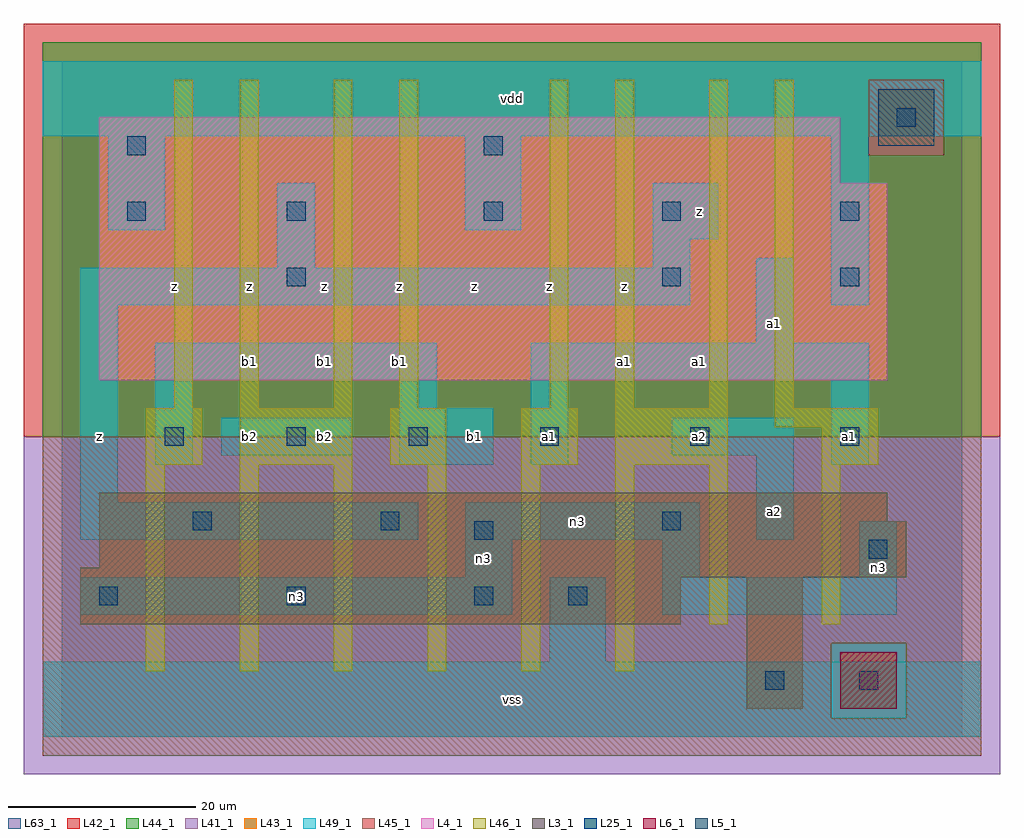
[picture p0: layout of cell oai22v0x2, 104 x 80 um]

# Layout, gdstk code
import gdstk
lib = gdstk.Library(unit=1e-6, precision=1e-09)
def R(c, l, rs):  # rectangles x0, y0, x1, y1
    for r in rs: c.add(gdstk.rectangle(r[:2], r[2:], *l))
def A(c, l, x, y, w, h, nx, ny, dx, dy):  # array of equal rectangles
    R(c, l, [(x+i*dx, y+j*dy, x+i*dx+w, y+j*dy+h) for i in range(nx) for j in range(ny)])
L3_1 = (3, 1)
L4_1 = (4, 1)
L5_1 = (5, 1)
L6_1 = (6, 1)
L25_1 = (25, 1)
L41_1 = (41, 1)
L42_1 = (42, 1)
L43_1 = (43, 1)
L44_1 = (44, 1)
L45_1 = (45, 1)
L46_1 = (46, 1)
L49_1 = (49, 1)
L63_1 = (63, 1)

oai22v0x2 = lib.new_cell('oai22v0x2')
R(oai22v0x2, L3_1, [(73,3,79,17), (2,12,66,17), (2,17,90,18), (4,18,90,23), (4,23,88,26)])
R(oai22v0x2, L4_1, [(4,38,88,59), (4,59,83,66)])
R(oai22v0x2, L5_1, [(87,63,93,69)])
R(oai22v0x2, L6_1, [(83,3,89,9), (83,3,89,9)])
A(oai22v0x2, L25_1, 4, 14, 2, 2, 3, 1, 20, 0)
A(oai22v0x2, L25_1, 11, 31, 2, 2, 3, 1, 13, 0)
A(oai22v0x2, L25_1, 51, 31, 2, 2, 3, 1, 16, 0)
A(oai22v0x2, L25_1, 45, 55, 2, 2, 3, 1, 19, 0)
R(oai22v0x2, L25_1, [(75,5,77,7), (85,5,87,7), (54,14,56,16), (86,19,88,21), (44,21,46,23), (14,22,16,24), (34,22,36,24), (64,22,66,24), (24,48,26,50), (64,48,66,50), (83,48,85,50), (7,55,9,57), (24,55,26,57), (7,62,9,64), (45,62,47,64), (89,65,91,67)])
R(oai22v0x2, L41_1, [(-4,-4,100,32)])
R(oai22v0x2, L42_1, [(-4,32,100,76)])
R(oai22v0x2, L43_1, [(73,3,79,17), (83,3,89,9), (2,12,66,17), (2,17,90,18), (4,18,90,23), (4,23,88,26), (4,38,88,59), (4,59,83,66), (87,63,93,69)])
R(oai22v0x2, L44_1, [(82,2,90,10), (-2,32,98,62), (-2,62,86,70), (94,62,98,70), (-2,70,98,74)])
R(oai22v0x2, L45_1, [(-2,-2,98,2), (-2,2,82,10), (90,2,98,10), (-2,10,98,32), (86,62,94,70)])
A(oai22v0x2, L46_1, 9, 7, 2, 22, 6, 1, 10, 0)
R(oai22v0x2, L46_1, [(69,12,71,29), (81,12,83,29), (9,29,15,35), (19,29,31,35), (35,29,41,35), (49,29,55,35), (59,29,71,35), (81,29,87,33), (76,33,87,35), (12,35,14,70), (19,35,21,70), (29,35,31,70), (36,35,38,70), (52,35,54,70), (59,35,61,70), (69,35,71,70), (76,35,78,70)])
R(oai22v0x2, L49_1, [(-2,0,98,8), (52,8,58,17), (2,13,48,17), (64,13,89,17), (43,17,48,21), (64,17,68,21), (85,17,89,23), (2,21,38,25), (43,21,68,25), (74,21,78,30), (2,25,6,46), (10,29,14,38), (36,29,46,35), (50,29,54,38), (82,29,86,38), (17,30,31,34), (65,30,78,34), (36,35,40,38), (10,38,40,42), (50,38,86,42), (74,42,78,51), (2,46,67,50), (82,46,86,64), (23,50,27,59), (63,50,67,53), (63,53,70,59), (5,54,11,64), (43,54,49,64), (-2,64,98,72)])
R(oai22v0x2, L63_1, [(0,0,96,72)])
oai22v0x2.add(gdstk.Label('z', (4,32), layer=49, texttype=1))
oai22v0x2.add(gdstk.Label('z', (12,48), layer=49, texttype=1))
oai22v0x2.add(gdstk.Label('b2', (28,32), layer=49, texttype=1))
oai22v0x2.add(gdstk.Label('b2', (20,32), layer=49, texttype=1))
oai22v0x2.add(gdstk.Label('b1', (20,40), layer=49, texttype=1))
oai22v0x2.add(gdstk.Label('b1', (28,40), layer=49, texttype=1))
oai22v0x2.add(gdstk.Label('z', (20,48), layer=49, texttype=1))
oai22v0x2.add(gdstk.Label('z', (28,48), layer=49, texttype=1))
oai22v0x2.add(gdstk.Label('vss', (48,4), layer=49, texttype=1))
oai22v0x2.add(gdstk.Label('n3', (45,19), layer=49, texttype=1))
oai22v0x2.add(gdstk.Label('n3', (25,15), layer=49, texttype=1))
oai22v0x2.add(gdstk.Label('b1', (44,32), layer=49, texttype=1))
oai22v0x2.add(gdstk.Label('a1', (52,32), layer=49, texttype=1))
oai22v0x2.add(gdstk.Label('b1', (36,40), layer=49, texttype=1))
oai22v0x2.add(gdstk.Label('z', (36,48), layer=49, texttype=1))
oai22v0x2.add(gdstk.Label('z', (44,48), layer=49, texttype=1))
oai22v0x2.add(gdstk.Label('z', (52,48), layer=49, texttype=1))
oai22v0x2.add(gdstk.Label('vdd', (48,68), layer=49, texttype=1))
oai22v0x2.add(gdstk.Label('n3', (55,23), layer=49, texttype=1))
oai22v0x2.add(gdstk.Label('a2', (76,24), layer=49, texttype=1))
oai22v0x2.add(gdstk.Label('a2', (68,32), layer=49, texttype=1))
oai22v0x2.add(gdstk.Label('a1', (60,40), layer=49, texttype=1))
oai22v0x2.add(gdstk.Label('a1', (68,40), layer=49, texttype=1))
oai22v0x2.add(gdstk.Label('a1', (76,44), layer=49, texttype=1))
oai22v0x2.add(gdstk.Label('z', (60,48), layer=49, texttype=1))
oai22v0x2.add(gdstk.Label('z', (68,56), layer=49, texttype=1))
oai22v0x2.add(gdstk.Label('n3', (87,18), layer=49, texttype=1))
oai22v0x2.add(gdstk.Label('a1', (84,32), layer=49, texttype=1))

lib.write_gds('oai22v0x2.gds')
